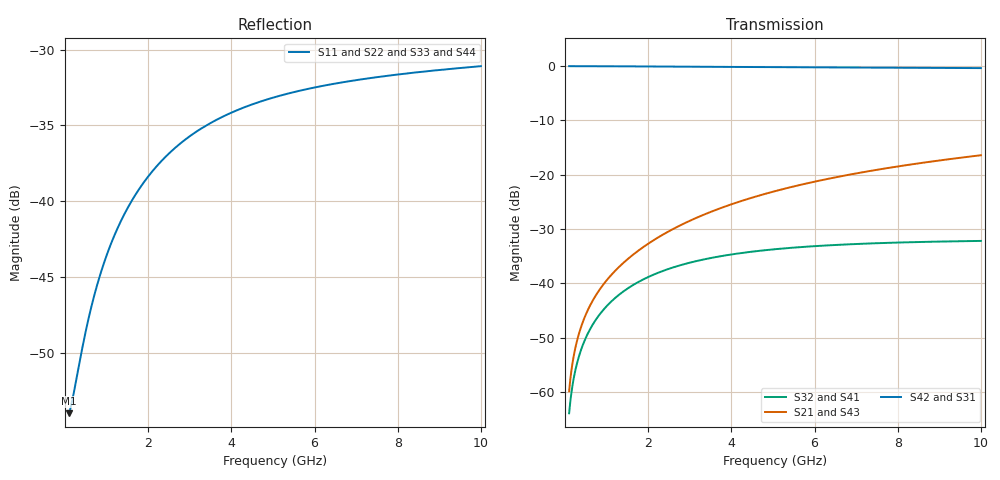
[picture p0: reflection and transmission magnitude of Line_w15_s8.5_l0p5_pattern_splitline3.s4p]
! TOUCHSTONE file generated by CST MICROWAVE STUDIO
! Date and time: Thu Oct 16 13:05:19 2014
! Project name: Untitled_1.cst
# GHZ S MA R 50
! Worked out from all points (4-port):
!   1001 points, 100 MHz to 10 GHz, reference 50 ohm
!   strongest paths, dB at 100 MHz, 2.575 GHz, 5.05 GHz, 7.525 GHz, 10 GHz:
!     S42: 0.0, -0.1, -0.2, -0.3, -0.4
!     S31: 0.0, -0.1, -0.2, -0.3, -0.4
!     S21: -59.8, -30.1, -23.0, -19.1, -16.4
!     S43: -59.8, -30.1, -23.0, -19.1, -16.4
!     S32: -63.9, -37.1, -33.7, -32.6, -32.2
!     S41: -63.9, -37.1, -33.7, -32.6, -32.2
!   lowest |S11| = -54.0 dB at 100 MHz (marker M1), VSWR 1.00, Z = 50.2 - j0.067 ohm
!   |S11| at or under -10 dB: start of sweep to end of sweep
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0.1  0.001992 -19.6  0.001021 90.7  0.9981 -0.2  0.0006395 -91.6
     0.001021 90.7  0.001994 -19.7  0.0006395 -91.6  0.9981 -0.2
     0.9981 -0.2  0.0006395 -91.6  0.001992 -19.6  0.001021 90.7
     0.0006395 -91.6  0.9981 -0.2  0.001021 90.7  0.001994 -19.7
0.3376  0.002873 -52.1  0.003466 92.2  0.9978 -0.8  0.002144 -95.1
        0.003466 92.2  0.002888 -52.3  0.002144 -95.1  0.9978 -0.8
        0.9978 -0.8  0.002144 -95.1  0.002873 -52.1  0.003466 92.2
        0.002144 -95.1  0.9978 -0.8  0.003466 92.2  0.002887 -52.3
0.7138  0.004937 -75.2  0.007466 94.3  0.9971 -1.6  0.004468 -100.4
        0.007466 94.3  0.004976 -75.3  0.004468 -100.4  0.9971 -1.6
        0.9971 -1.6  0.004468 -100.4  0.004937 -75.2  0.007466 94.3
        0.004468 -100.4  0.9971 -1.6  0.007466 94.3  0.004975 -75.3
1.3276  0.008494 -92.3  0.01454 96.7  0.9951 -3.0  0.008029 -108.6
        0.01454 96.7  0.008568 -92.3  0.008029 -108.6  0.9951 -3.0
        0.9951 -3.0  0.008029 -108.6  0.008495 -92.3  0.01454 96.7
        0.008029 -108.6  0.9951 -3.0  0.01454 96.7  0.008567 -92.3
2.2087  0.01305 -106.4  0.02609 97.9  0.9912 -4.9  0.01241 -119.3
        0.02609 97.9  0.01317 -106.3  0.01241 -119.3  0.9912 -4.9
        0.9912 -4.9  0.01241 -119.3  0.01306 -106.5  0.02609 97.9
        0.01241 -119.3  0.9912 -4.9  0.02609 97.9  0.01318 -106.4
5.2183  0.02238 -131.4  0.07347 92.3  0.9767 -10.8  0.02095 -145.1
        0.07347 92.3  0.02262 -130.9  0.02095 -145.2  0.9767 -10.8
        0.9767 -10.8  0.02095 -145.2  0.02243 -131.4  0.07346 92.3
        0.02095 -145.1  0.9767 -10.8  0.07346 92.3  0.02268 -131.1
10  0.0279 -145.4  0.1513 79.6  0.9581 -19.6  0.02461 -165.8
    0.1513 79.6  0.02828 -144.6  0.02464 -165.9  0.9581 -19.6
    0.9581 -19.6  0.02464 -165.9  0.02812 -145.7  0.1512 79.6
    0.02461 -165.8  0.9581 -19.6  0.1512 79.6  0.02857 -145.3
